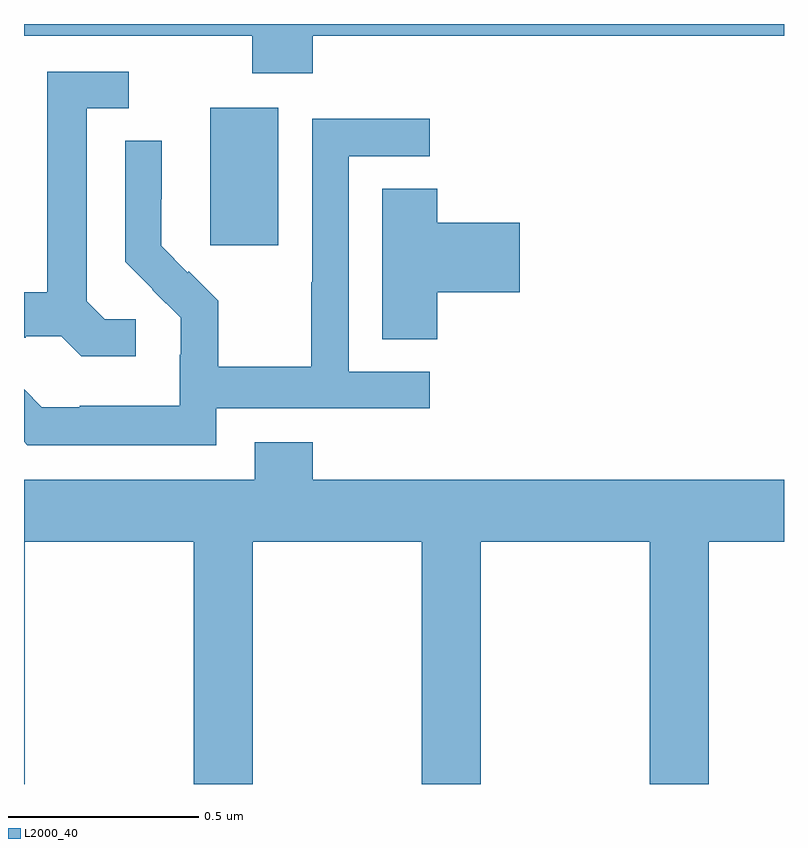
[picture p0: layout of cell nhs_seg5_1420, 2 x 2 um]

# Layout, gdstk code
import gdstk
lib = gdstk.Library(unit=1e-6, precision=1e-09)
def R(c, l, rs):  # rectangles x0, y0, x1, y1
    for r in rs: c.add(gdstk.rectangle(r[:2], r[2:], *l))
def P(c, l, *ps):  # polygons
    for p in ps: c.add(gdstk.Polygon(p, *l))
L2000_40 = (2000, 40)

nhs_seg5_1420 = lib.new_cell('nhs_seg5_1420')
R(nhs_seg5_1420, L2000_40, [(130.49,848.217,130.669,848.578)])
P(nhs_seg5_1420, L2000_40, [(132,848.799),(130,848.799),(130,848.768),(130.6,848.768),(130.6,848.669),(130.76,848.669),(130.76,848.768),(132,848.768)],
  [(130.294,848.022),(130.212,848.022),(130.165,848.069),(130.165,848.577),(130.276,848.577),(130.276,848.673),(130.061,848.673),(130.061,848.093),(130,848.093),(130,847.974),(130.004,847.974),(130.004,847.977),(130.098,847.977),(130.15,847.925),(130.294,847.925)],
  [(130.506,847.788),(131.068,847.788),(131.068,847.884),(130.854,847.884),(130.854,848.451),(131.068,848.451),(131.068,848.55),(130.758,848.55),(130.758,848.12),(130.756,848.12),(130.756,847.897),(130.511,847.897),(130.511,848.071),(130.434,848.148),(130.431,848.145),(130.361,848.216),(130.361,848.338),(130.362,848.338),(130.362,848.492),(130.266,848.492),(130.266,848.174),(130.339,848.101),(130.338,848.1),(130.412,848.026),(130.412,847.929),(130.41,847.929),(130.41,847.795),(130.147,847.795),(130.147,847.791),(130.047,847.791),(130,847.838),(130,847.7),(130.009,847.691),(130.506,847.691)],
  [(131.087,848.093),(131.305,848.093),(131.305,848.276),(131.087,848.276),(131.087,848.366),(130.943,848.366),(130.943,847.969),(131.087,847.969)],
  [(130.002,847.436),(130.447,847.436),(130.447,846.799),(130.602,846.799),(130.602,847.436),(131.047,847.436),(131.047,846.799),(131.202,846.799),(131.202,847.436),(131.647,847.436),(131.647,846.799),(131.802,846.799),(131.802,847.436),(132,847.436),(132,847.6),(130.76,847.6),(130.76,847.699),(130.607,847.699),(130.607,847.6),(130,847.6),(130,846.799),(130.002,846.799)])

lib.write_gds('nhs_seg5_1420.gds')
